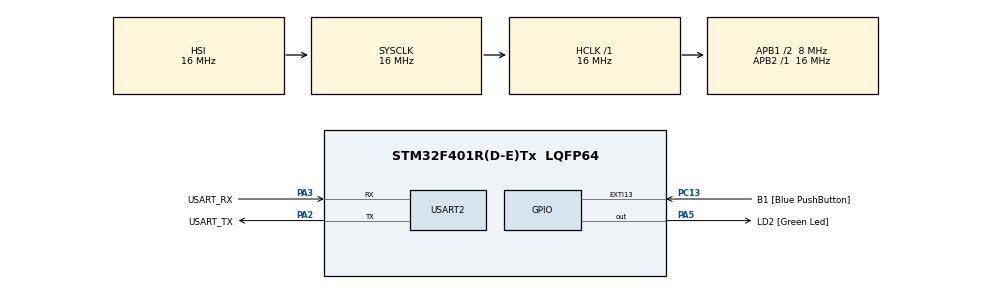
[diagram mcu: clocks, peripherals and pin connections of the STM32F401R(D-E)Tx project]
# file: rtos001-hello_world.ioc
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FREERTOS.Tasks01=defaultTask,0,128,StartDefaultTask,Default,NULL,Dynamic,NULL,NULL;myTask02,0,128,StartTask02,Default,NULL,Dynamic,NULL,NULL
Mcu.Family=STM32F4
Mcu.Name=STM32F401R(D-E)Tx
Mcu.Package=LQFP64
NVIC.PriorityGroup=NVIC_PRIORITYGROUP_4
NVIC.RCC_IRQn=true\:5\:0\:false\:false\:true\:true\:true\:false
NVIC.TIM1_UP_TIM10_IRQn=true\:0\:0\:false\:false\:true\:false\:false\:true
NVIC.TimeBase=TIM1_UP_TIM10_IRQn
NVIC.TimeBaseIP=TIM1
PA13.GPIO_Label=TMS
PA13.Mode=Serial_Wire
PA13.Signal=SYS_JTMS-SWDIO
PA14.GPIO_Label=TCK
PA14.Mode=Serial_Wire
PA14.Signal=SYS_JTCK-SWCLK
PA2.GPIO_Label=USART_TX
PA2.GPIO_Mode=GPIO_MODE_AF_PP
PA2.GPIO_PuPd=GPIO_NOPULL
PA2.GPIO_Speed=GPIO_SPEED_FREQ_LOW
PA2.Mode=Asynchronous
PA2.Signal=USART2_TX
PA3.GPIO_Label=USART_RX
PA3.GPIO_Mode=GPIO_MODE_AF_PP
PA3.GPIO_PuPd=GPIO_NOPULL
PA3.GPIO_Speed=GPIO_SPEED_FREQ_LOW
PA3.Mode=Asynchronous
PA3.Signal=USART2_RX
PA5.GPIO_Label=LD2 [Green Led]
PA5.GPIO_Mode=GPIO_MODE_OUTPUT_PP
PA5.GPIO_PuPd=GPIO_NOPULL
PA5.GPIO_Speed=GPIO_SPEED_FREQ_LOW
PA5.Signal=GPIO_Output
PB3.GPIO_Label=SWO
PB3.Signal=SYS_JTDO-SWO
PC13-ANTI_TAMP.GPIO_Label=B1 [Blue PushButton]
PC13-ANTI_TAMP.GPIO_ModeDefaultEXTI=GPIO_MODE_IT_FALLING
PC13-ANTI_TAMP.GPIO_PuPd=GPIO_NOPULL
PC13-ANTI_TAMP.Signal=GPXTI13
PC14-OSC32_IN.Signal=RCC_OSC32_IN
PC15-OSC32_OUT.Signal=RCC_OSC32_OUT
PH0\ -\ OSC_IN.Signal=RCC_OSC_IN
PH1\ -\ OSC_OUT.Signal=RCC_OSC_OUT
ProjectManager.HeapSize=0x200
ProjectManager.StackSize=0x400
ProjectManager.TargetToolchain=STM32CubeIDE
RCC.AHBFreq_Value=16000000
RCC.APB1CLKDivider=RCC_HCLK_DIV2
RCC.APB1Freq_Value=8000000
RCC.APB1TimFreq_Value=16000000
RCC.APB2Freq_Value=16000000
RCC.APB2TimFreq_Value=16000000
RCC.CortexFreq_Value=16000000
RCC.HCLKFreq_Value=16000000
RCC.HSE_VALUE=8000000
RCC.HSI_VALUE=16000000
RCC.LSE_VALUE=32768
RCC.PLLN=336
RCC.PLLP=RCC_PLLP_DIV4
RCC.PLLQ=7
RCC.SYSCLKFreq_VALUE=16000000
RCC.VCOOutputFreq_Value=336000000
USART2.VirtualMode=VM_ASYNC
VP_FREERTOS_VS_CMSIS_V1.Mode=CMSIS_V1
VP_SYS_VS_tim1.Mode=TIM1
board=NUCLEO-F401RE

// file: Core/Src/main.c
/* USER CODE BEGIN Header */
/**
 ******************************************************************************
 * @file           : main.c
 * @brief          : Main program body
 ******************************************************************************
 * @attention
 *
 * <h2><center>&copy; Copyright (c) 2020 STMicroelectronics.
 * All rights reserved.</center></h2>
 *
 * This software component is licensed by ST under BSD 3-Clause license,
 * the "License"; You may not use this file except in compliance with the
 * License. You may obtain a copy of the License at:
 *                        opensource.org/licenses/BSD-3-Clause
 *
 ******************************************************************************
 */
/* USER CODE END Header */

#include "main.h"
#include "cmsis_os.h"

/* USER CODE BEGIN Includes */
#include <string.h>
#include <stdio.h>
/* USER CODE END Includes */

/* USER CODE BEGIN PTD */
typedef enum{
	NON_AVAILABLE, AVAILABLE
}COM_IS_AVAILABLE;
/* USER CODE END PTD */

UART_HandleTypeDef huart2;
osThreadId defaultTaskHandle;
osThreadId myTask02Handle;
/* USER CODE BEGIN PV */

COM_IS_AVAILABLE usart_status = NON_AVAILABLE;
/* USER CODE END PV */

void SystemClock_Config(void);
static void MX_GPIO_Init(void);
static void MX_USART2_UART_Init(void);
void StartDefaultTask(void const * argument);
void StartTask02(void const * argument);

/* USER CODE BEGIN PFP */
extern void initialise_monitor_handles();
/* USER CODE END PFP */

int main(void)
{
  /* USER CODE BEGIN 1 */
	initialise_monitor_handles();
	usart_status = AVAILABLE;

	printf("This is hello world examples.\n");

  /* USER CODE END 1 */

  /* MCU Configuration--------------------------------------------------------*/

  /* Reset of all peripherals, Initializes the Flash interface and the Systick. */
  HAL_Init();

  /* Configure the system clock */
  SystemClock_Config();

  /* Initialize all configured peripherals */
  MX_GPIO_Init();
  MX_USART2_UART_Init();

  /* Create the thread(s) */
  /* definition and creation of defaultTask */
  osThreadDef(defaultTask, StartDefaultTask, osPriorityNormal, 0, 128);
  defaultTaskHandle = osThreadCreate(osThread(defaultTask), NULL);

  /* definition and creation of myTask02 */
  osThreadDef(myTask02, StartTask02, osPriorityNormal, 0, 128);
  myTask02Handle = osThreadCreate(osThread(myTask02), NULL);

  /* Start scheduler */
  osKernelStart();

  /* We should never get here as control is now taken by the scheduler */

  /* Infinite loop */
	while (1) {

	}
}

void SystemClock_Config(void)
{
  RCC_OscInitTypeDef RCC_OscInitStruct = {0};
  RCC_ClkInitTypeDef RCC_ClkInitStruct = {0};

  /** Configure the main internal regulator output voltage
  */
  __HAL_RCC_PWR_CLK_ENABLE();
  __HAL_PWR_VOLTAGESCALING_CONFIG(PWR_REGULATOR_VOLTAGE_SCALE2);
  /** Initializes the CPU, AHB and APB busses clocks
  */
  RCC_OscInitStruct.OscillatorType = RCC_OSCILLATORTYPE_HSI;
  RCC_OscInitStruct.HSIState = RCC_HSI_ON;
  RCC_OscInitStruct.HSICalibrationValue = RCC_HSICALIBRATION_DEFAULT;
  RCC_OscInitStruct.PLL.PLLState = RCC_PLL_NONE;
  if (HAL_RCC_OscConfig(&RCC_OscInitStruct) != HAL_OK)
  {
    Error_Handler();
  }
  /** Initializes the CPU, AHB and APB busses clocks
  */
  RCC_ClkInitStruct.ClockType = RCC_CLOCKTYPE_HCLK|RCC_CLOCKTYPE_SYSCLK
                              |RCC_CLOCKTYPE_PCLK1|RCC_CLOCKTYPE_PCLK2;
  RCC_ClkInitStruct.SYSCLKSource = RCC_SYSCLKSOURCE_HSI;
  RCC_ClkInitStruct.AHBCLKDivider = RCC_SYSCLK_DIV1;
  RCC_ClkInitStruct.APB1CLKDivider = RCC_HCLK_DIV2;
  RCC_ClkInitStruct.APB2CLKDivider = RCC_HCLK_DIV1;

  if (HAL_RCC_ClockConfig(&RCC_ClkInitStruct, FLASH_LATENCY_0) != HAL_OK)
  {
    Error_Handler();
  }
}

static void MX_USART2_UART_Init(void)
{

  huart2.Instance = USART2;
  huart2.Init.BaudRate = 115200;
  huart2.Init.WordLength = UART_WORDLENGTH_8B;
  huart2.Init.StopBits = UART_STOPBITS_1;
  huart2.Init.Parity = UART_PARITY_NONE;
  huart2.Init.Mode = UART_MODE_TX_RX;
  huart2.Init.HwFlowCtl = UART_HWCONTROL_NONE;
  huart2.Init.OverSampling = UART_OVERSAMPLING_16;
  if (HAL_UART_Init(&huart2) != HAL_OK)
  {
    Error_Handler();
  }

}

static void MX_GPIO_Init(void)
{
  GPIO_InitTypeDef GPIO_InitStruct = {0};

  /* GPIO Ports Clock Enable */
  __HAL_RCC_GPIOC_CLK_ENABLE();
  __HAL_RCC_GPIOH_CLK_ENABLE();
  __HAL_RCC_GPIOA_CLK_ENABLE();
  __HAL_RCC_GPIOB_CLK_ENABLE();

  /*Configure GPIO pin Output Level */
  HAL_GPIO_WritePin(LD2_GPIO_Port, LD2_Pin, GPIO_PIN_RESET);

  /*Configure GPIO pin : B1_Pin */
  GPIO_InitStruct.Pin = B1_Pin;
  GPIO_InitStruct.Mode = GPIO_MODE_IT_FALLING;
  GPIO_InitStruct.Pull = GPIO_NOPULL;
  HAL_GPIO_Init(B1_GPIO_Port, &GPIO_InitStruct);

  /*Configure GPIO pin : LD2_Pin */
  GPIO_InitStruct.Pin = LD2_Pin;
  GPIO_InitStruct.Mode = GPIO_MODE_OUTPUT_PP;
  GPIO_InitStruct.Pull = GPIO_NOPULL;
  GPIO_InitStruct.Speed = GPIO_SPEED_FREQ_LOW;
  HAL_GPIO_Init(LD2_GPIO_Port, &GPIO_InitStruct);

}

void StartDefaultTask(void const * argument)
{
  /* USER CODE BEGIN 5 */
	char msg[] = "Hello Default Task\r\n";
	/* Infinite loop */
	for (;;) {
		if(usart_status == AVAILABLE){
			usart_status = NON_AVAILABLE;
			HAL_UART_Transmit(&huart2, (uint8_t*) msg, strlen(msg), HAL_MAX_DELAY);
			usart_status = AVAILABLE;
		}
		//printf("Hello World from Default Task\n");
		taskYIELD();

		//osDelay(1);
	}
  /* USER CODE END 5 */
}

void StartTask02(void const * argument)
{
  /* USER CODE BEGIN StartTask02 */
	char msg[] = "Hello Start Task\r\n";
	/* Infinite loop */
	for (;;) {
		if(usart_status == AVAILABLE){
			usart_status = NON_AVAILABLE;
			HAL_UART_Transmit(&huart2, (uint8_t*) msg, strlen(msg), HAL_MAX_DELAY);
			usart_status = AVAILABLE;
		}

		//printf("Hello World from Task02\n");
		taskYIELD();

		//osDelay(1);
	}
  /* USER CODE END StartTask02 */
}

void HAL_TIM_PeriodElapsedCallback(TIM_HandleTypeDef *htim)
{
  if (htim->Instance == TIM1) {
    HAL_IncTick();
  }
}

void Error_Handler(void)
{
}

/************************ (C) COPYRIGHT STMicroelectronics *****END OF FILE****/
